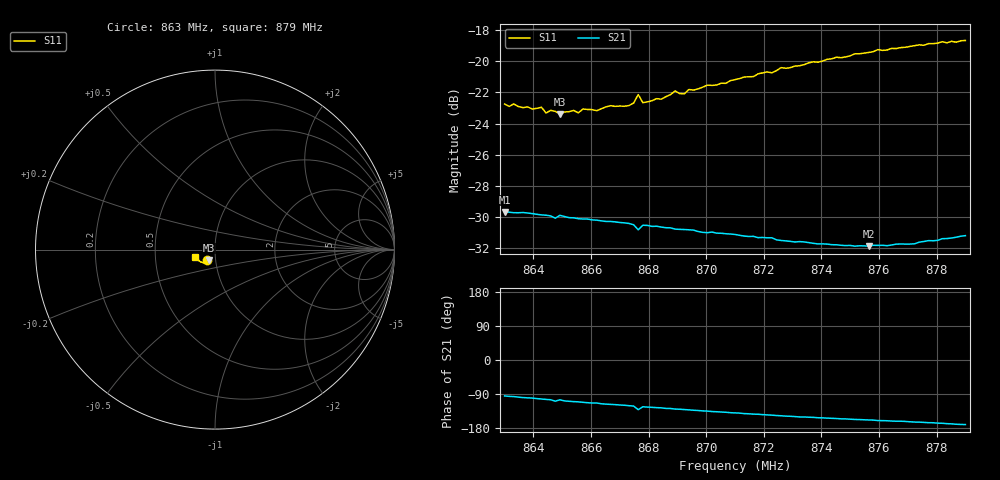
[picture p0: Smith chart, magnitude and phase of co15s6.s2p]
# HZ S RI R 50
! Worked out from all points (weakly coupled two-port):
!   101 points, 863 MHz to 879 MHz, reference 50 ohm
!   highest |S21| = -29.67 dB at 863 MHz (marker M1); lowest = -31.9 dB at 875.64 MHz (marker M2)
!   lowest |S11| = -23.4 dB at 864.92 MHz (marker M3), VSWR 1.14, Z = 46.2 - j5.31 ohm
!   |S11| at or under -10 dB: start of sweep to end of sweep
!   S12 and S22 are empty: the file has one direction only
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8.63e8  -0.0463 -0.0563  -0.00278 -0.0327  0 0  0 0
8.6428e8  -0.0407 -0.0584  -0.00717 -0.0313  0 0  0 0
8.6444e8  -0.0399 -0.0553  -0.00777 -0.0311  0 0  0 0
8.646e8  -0.0411 -0.0561  -0.00821 -0.0308  0 0  0 0
8.6492e8  -0.036 -0.0572  -0.00831 -0.0309  0 0  0 0
8.654e8  -0.0383 -0.058  -0.0107 -0.0296  0 0  0 0
8.6556e8  -0.0374 -0.0571  -0.0109 -0.0293  0 0  0 0
8.6572e8  -0.0378 -0.0592  -0.0115 -0.029  0 0  0 0
8.662e8  -0.0362 -0.0592  -0.0123 -0.0283  0 0  0 0
8.6732e8  -0.0376 -0.0615  -0.0154 -0.026  0 0  0 0
8.6748e8  -0.0367 -0.0636  -0.0156 -0.0255  0 0  0 0
8.6764e8  -0.0446 -0.0642  -0.0189 -0.0217  0 0  0 0
8.678e8  -0.0382 -0.063  -0.0164 -0.0249  0 0  0 0
8.6844e8  -0.0385 -0.065  -0.0174 -0.0237  0 0  0 0
8.6892e8  -0.0439 -0.0673  -0.0184 -0.0224  0 0  0 0
8.6924e8  -0.0418 -0.0665  -0.0188 -0.0218  0 0  0 0
8.694e8  -0.0425 -0.0691  -0.0191 -0.0215  0 0  0 0
8.71e8  -0.0491 -0.0721  -0.0212 -0.018  0 0  0 0
8.7372e8  -0.068 -0.0727  -0.0229 -0.0125  0 0  0 0
8.7564e8  -0.084 -0.0658  -0.0237 -0.00944  0 0  0 0
8.7644e8  -0.0916 -0.0608  -0.0243 -0.00834  0 0  0 0
8.79e8  -0.1096 -0.0396  -0.0272 -0.00462  0 0  0 0
